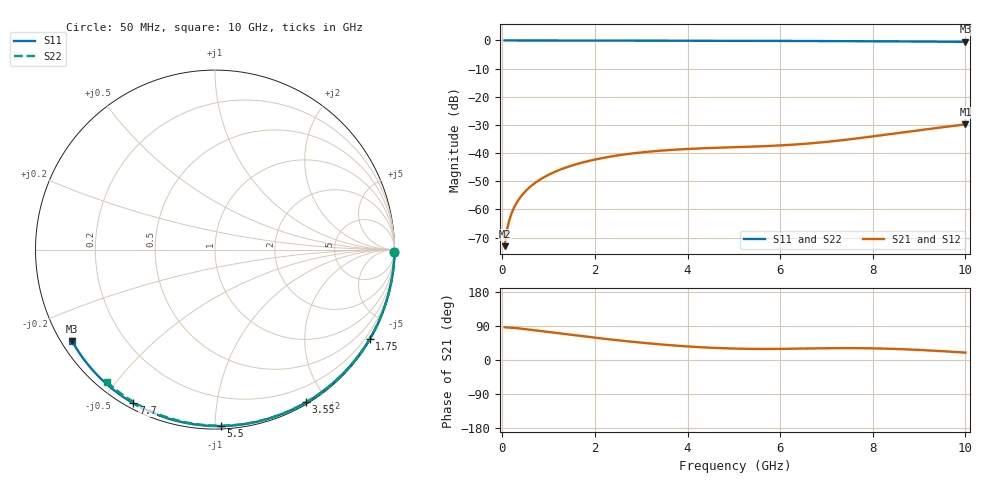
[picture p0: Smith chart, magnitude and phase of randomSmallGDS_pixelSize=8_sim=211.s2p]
! freq	dB(S11)	phase(S11)	dB(S12)	phase(S12)
!  dB(S21)	phase(S21)	dB(S22)	phase(S22)
!S-par simulation data
#  GHz  S  DB  R 50
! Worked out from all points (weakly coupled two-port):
!   200 points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, 50 MHz to 10 GHz, reference 50 ohm
!   highest |S21| = -29.81 dB at 10 GHz (marker M1); lowest = -73.0 dB at 50 MHz (marker M2)
!   lowest |S11| = -0.5 dB at 10 GHz (marker M3), VSWR 35.71, Z = 1.52 - j14.6 ohm
!   |S11| at or under -10 dB: nowhere
!   |S22| runs from -0.4 to 0.0 dB; largest |S21 - S12| = 0
!   S11 on the Smith chart (normalised r, x): 50 MHz: open; 1.75 GHz: 0.03, -3.73; 3.55 GHz: 0.02, -1.76; 5.5 GHz: 0.02, -1.03; 7.7 GHz: 0.02, -0.60; 10 GHz: 0.03, -0.29
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0.05  -0.00 -0.9  -73.04 86.5  -73.04 86.5  -0.00 -0.8
0.1  -0.00 -1.7  -67.29 86.1  -67.29 86.1  -0.00 -1.5
0.15  -0.00 -2.6  -63.86 85.8  -63.86 85.8  -0.00 -2.3
0.2  -0.00 -3.5  -61.41 85.4  -61.41 85.4  -0.00 -3.0
0.25  -0.00 -4.4  -59.50 84.8  -59.50 84.8  -0.00 -3.8
0.35  -0.00 -6.1  -56.61 83.5  -56.61 83.5  -0.00 -5.3
0.5  -0.01 -8.7  -53.55 81.4  -53.55 81.4  -0.01 -7.6
0.7  -0.01 -12.2  -50.68 78.4  -50.68 78.4  -0.01 -10.6
1  -0.02 -17.3  -47.69 73.8  -47.69 73.8  -0.02 -15.0
1.35  -0.03 -23.3  -45.25 68.4  -45.25 68.4  -0.03 -20.2
1.75  -0.04 -30.0  -43.26 62.5  -43.26 62.5  -0.03 -26.1
2.5  -0.05 -42.4  -40.81 52.0  -40.81 52.0  -0.05 -36.9
3.4  -0.08 -56.8  -39.16 41.3  -39.16 41.3  -0.07 -49.6
3.55  -0.08 -59.2  -38.97 39.8  -38.97 39.8  -0.07 -51.7
4.3  -0.10 -70.7  -38.31 33.6  -38.31 33.6  -0.09 -61.8
5.05  -0.12 -81.8  -37.89 30.0  -37.89 30.0  -0.11 -71.6
5.5  -0.14 -88.2  -37.64 29.2  -37.64 29.2  -0.12 -77.4
6.7  -0.20 -104.8  -36.48 30.6  -36.48 30.6  -0.18 -92.1
7.7  -0.27 -118.0  -34.70 31.3  -34.70 31.3  -0.23 -103.8
8.35  -0.32 -126.4  -33.31 29.7  -33.31 29.7  -0.28 -111.1
9.2  -0.40 -137.2  -31.46 25.3  -31.46 25.3  -0.35 -120.5
10  -0.49 -147.4  -29.81 19.5  -29.81 19.5  -0.43 -129.2
